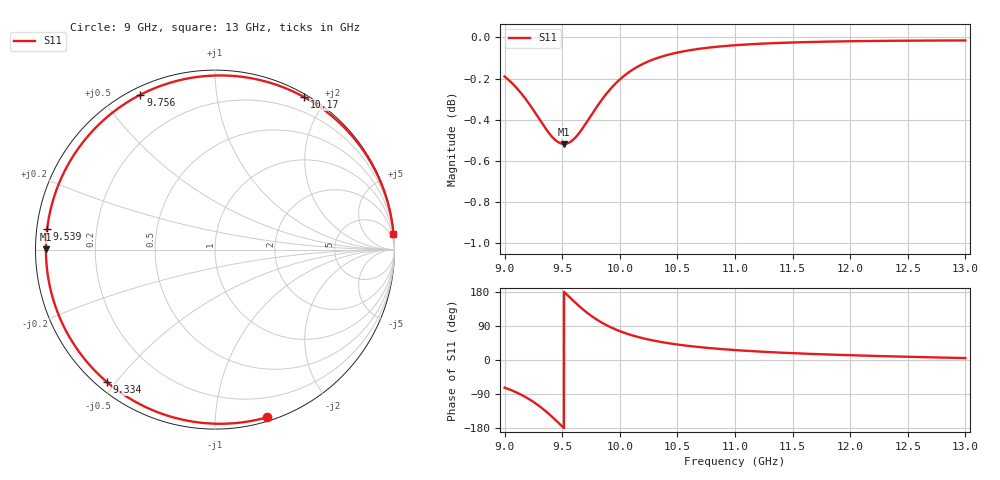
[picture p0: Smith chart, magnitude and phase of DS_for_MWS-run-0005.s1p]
! TOUCHSTONE file generated by CST DESIGN STUDIO
! Date and time: Tue Feb  4 13:49:54 2025
! Project name: C:\Work\MatlabApps\UnitCellOptimizationMatlab\CST\unitcell.cst
! Tree item: Tasks\Sweep1\SPara1\S-Parameters
! Header version: 2024
! Port assignment regex: !\s*Touchstone port\s*([0-9]+)\s*=\s*(CST MWS port|CST DES external port|CST DES block port)\s*(.+)\s* \(\"(.*)\"\)(\s*mode\s*([0-9]+))?.*
! Touchstone port assignment:
! Touchstone port 1 = CST DES external port 1 ("")
# GHz S MA R 50
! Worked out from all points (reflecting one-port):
!   4001 points, 9 GHz to 13 GHz, reference 50 ohm
!   lowest |S11| = -0.5 dB at 9.516 GHz (marker M1), VSWR 33.56, Z = 1.49 + j0.034 ohm
!   phase of S11 starts at -73 deg and turns -282 deg over the sweep
!   S11 on the Smith chart (normalised r, x): 9 GHz: 0.03, -1.35; 9.334 GHz: 0.03, -0.47; 9.539 GHz: 0.03, +0.06; 9.756 GHz: 0.03, +0.63; 10.17 GHz: 0.03, +1.74; 13 GHz: 0, +23
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9  0.9783 -72.9
9.09  0.9731 -83.8
9.194  0.9652 -99.9
9.267  0.9586 -114.1
9.334  0.9523 -129.3
9.379  0.9484 -140.8
9.426  0.945 -153.7
9.464  0.9431 -164.7
9.5  0.9422 -175.3
9.516  0.9421 179.9
9.539  0.9423 173.1
9.593  0.9443 157.2
9.653  0.9484 140.6
9.704  0.9528 127.6
9.756  0.9578 115.7
9.807  0.9625 105.4
9.862  0.9672 95.5
10  0.9767 76.1
10.082  0.9809 67.4
10.17  0.9843 59.8
10.32  0.9884 49.7
10.5  0.9916 40.9
10.722  0.9939 33.1
11  0.9956 26.2
11.5  0.9972 18.0
12  0.9979 12.6
12.5  0.9982 8.5
13  0.9983 5.1
